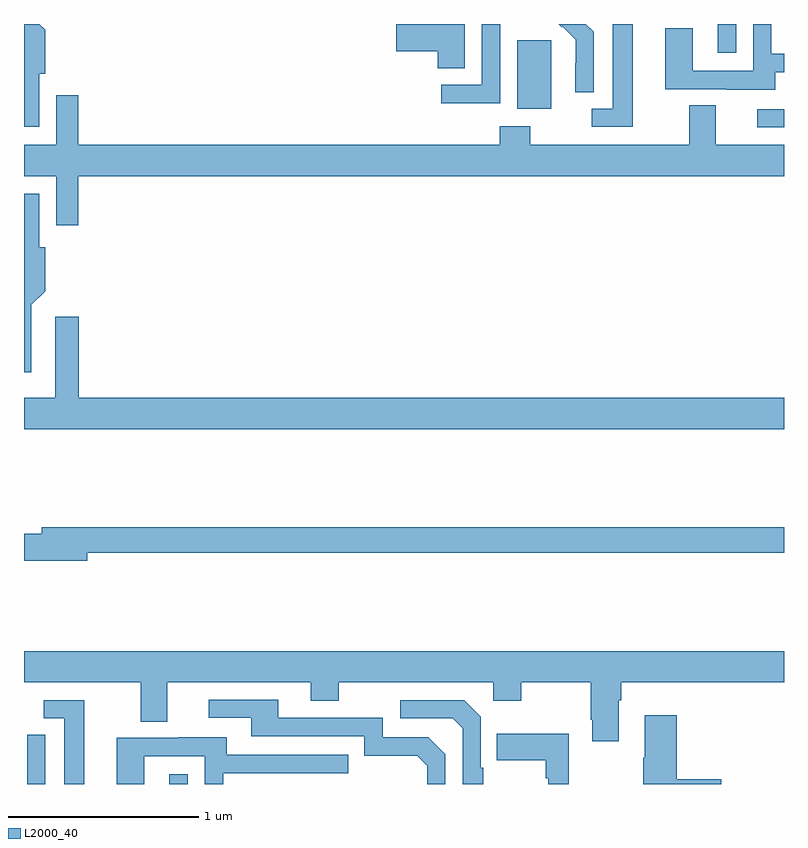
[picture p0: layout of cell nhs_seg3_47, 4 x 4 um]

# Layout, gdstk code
import gdstk
lib = gdstk.Library(unit=1e-6, precision=1e-09)
def R(c, l, rs):  # rectangles x0, y0, x1, y1
    for r in rs: c.add(gdstk.rectangle(r[:2], r[2:], *l))
def P(c, l, *ps):  # polygons
    for p in ps: c.add(gdstk.Polygon(p, *l))
L2000_40 = (2000, 40)

nhs_seg3_47 = lib.new_cell('nhs_seg3_47')
R(nhs_seg3_47, L2000_40, [(113.765,680.4,113.862,680.452), (116.859,683.856,117,683.952), (115.595,683.954,115.774,684.315), (116.651,684.249,116.748,684.4)])
P(nhs_seg3_47, L2000_40, [(116.203,684.4),(116.099,684.4),(116.099,683.955),(115.989,683.955),(115.989,683.859),(116.203,683.859)],
  [(115.321,684.4),(114.96,684.4),(114.96,684.257),(115.178,684.257),(115.178,684.166),(115.321,684.166)],
  [(113.08,684.138),(113.111,684.138),(113.111,684.37),(113.081,684.4),(113,684.4),(113,683.858),(113.08,683.858)],
  [(116.953,684.147),(117,684.147),(117,684.243),(116.934,684.243),(116.934,684.4),(116.838,684.4),(116.838,684.153),(116.52,684.153),(116.52,684.377),(116.375,684.377),(116.375,684.057),(116.699,684.057),(116.699,684.053),(116.953,684.053)],
  [(115.506,684.4),(115.41,684.4),(115.41,684.081),(115.197,684.081),(115.197,683.983),(115.506,683.983)],
  [(115.998,684.358),(115.956,684.4),(115.814,684.4),(115.83,684.384),(115.833,684.387),(115.904,684.317),(115.904,684.194),(115.902,684.194),(115.902,684.04),(115.998,684.04)],
  [(113.285,683.6),(117,683.6),(117,683.764),(116.641,683.764),(116.641,683.972),(116.501,683.972),(116.501,683.764),(115.665,683.764),(115.665,683.863),(115.505,683.863),(115.505,683.764),(113.285,683.764),(113.285,684.025),(113.169,684.025),(113.169,683.764),(113,683.764),(113,683.6),(113.169,683.6),(113.169,683.34),(113.285,683.34)],
  [(113.038,682.823),(113.039,682.823),(113.039,682.922),(113.111,682.994),(113.111,683.226),(113.08,683.226),(113.08,683.506),(113,683.506),(113,682.568),(113.038,682.568)],
  [(117,682.432),(113.288,682.432),(113.288,682.858),(113.165,682.858),(113.165,682.432),(113,682.432),(113,682.268),(117,682.268)],
  [(113.332,681.616),(117,681.616),(117,681.752),(113.093,681.752),(113.093,681.716),(113,681.716),(113,681.574),(113.332,681.574)],
  [(116.131,680.84),(116.144,680.84),(116.144,680.936),(117,680.936),(117,681.1),(113,681.1),(113,680.936),(113.615,680.936),(113.615,680.728),(113.755,680.728),(113.755,680.936),(114.509,680.936),(114.509,680.837),(114.657,680.837),(114.657,680.936),(115.47,680.936),(115.47,680.837),(115.617,680.837),(115.617,680.936),(115.984,680.936),(115.984,680.737),(115.991,680.737),(115.991,680.625),(116.131,680.625)],
  [(115.218,680.556),(115.128,680.646),(114.888,680.646),(114.888,680.748),(114.337,680.748),(114.337,680.844),(113.973,680.844),(113.973,680.748),(114.197,680.748),(114.197,680.652),(114.792,680.652),(114.792,680.549),(115.069,680.549),(115.122,680.496),(115.122,680.4),(115.218,680.4)],
  [(115.417,680.485),(115.404,680.485),(115.404,680.754),(115.317,680.841),(114.981,680.841),(114.981,680.745),(115.257,680.745),(115.308,680.694),(115.308,680.4),(115.417,680.4)],
  [(113.317,680.841),(113.103,680.841),(113.103,680.745),(113.213,680.745),(113.213,680.4),(113.317,680.4)],
  [(116.671,680.426),(116.435,680.426),(116.435,680.761),(116.267,680.761),(116.267,680.537),(116.26,680.537),(116.26,680.4),(116.671,680.4)],
  [(115.867,680.665),(115.489,680.665),(115.489,680.525),(115.746,680.525),(115.746,680.429),(115.758,680.429),(115.758,680.4),(115.867,680.4)],
  [(113.112,680.66),(113.016,680.66),(113.016,680.506),(113.018,680.506),(113.018,680.4),(113.112,680.4)],
  [(113.634,680.547),(113.952,680.547),(113.952,680.4),(114.048,680.4),(114.048,680.457),(114.707,680.457),(114.707,680.553),(114.067,680.553),(114.067,680.647),(113.813,680.647),(113.813,680.643),(113.489,680.643),(113.489,680.4),(113.634,680.4)])

lib.write_gds('nhs_seg3_47.gds')
